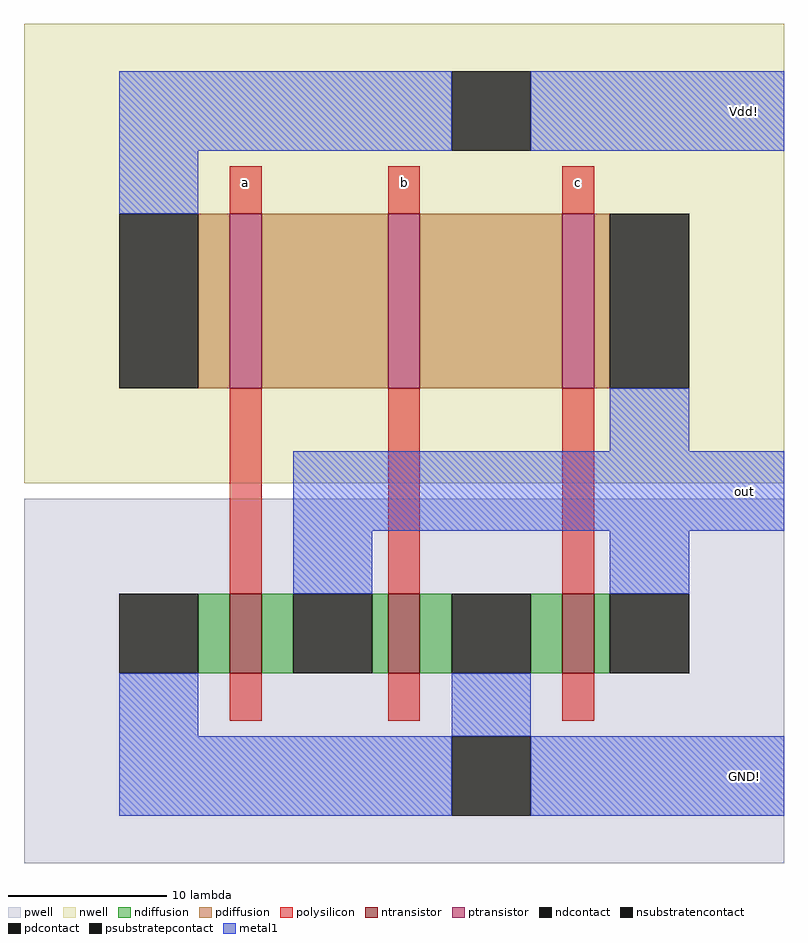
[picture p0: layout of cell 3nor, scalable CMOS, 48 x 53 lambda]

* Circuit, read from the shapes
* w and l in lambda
.subckt 3nor GND! Vdd! a b c out
M1 out a GND! GND! nfet w=5 l=2
M2 GND! b out GND! nfet w=5 l=2
M3 out c GND! GND! nfet w=5 l=2
M4 n1 a Vdd! Vdd! pfet w=11 l=2
M5 n2 b n1 Vdd! pfet w=11 l=2
M6 out c n2 Vdd! pfet w=11 l=2
.ends

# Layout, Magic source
magic
tech scmos
<< nwell >>
rect 72 52 120 81
<< pwell >>
rect 72 28 120 51
<< ntransistor >>
rect 85 40 87 45
rect 95 40 97 45
rect 106 40 108 45
<< ptransistor >>
rect 85 58 87 69
rect 95 58 97 69
rect 106 58 108 69
<< ndiffusion >>
rect 83 40 85 45
rect 87 40 89 45
rect 94 40 95 45
rect 97 40 99 45
rect 104 40 106 45
rect 108 40 109 45
<< pdiffusion >>
rect 83 58 85 69
rect 87 58 95 69
rect 97 58 106 69
rect 108 58 109 69
<< ndcontact >>
rect 78 40 83 45
rect 89 40 94 45
rect 99 40 104 45
rect 109 40 114 45
<< pdcontact >>
rect 78 58 83 69
rect 109 58 114 69
<< psubstratepcontact >>
rect 99 31 104 36
<< nsubstratencontact >>
rect 99 73 104 78
<< polysilicon >>
rect 85 69 87 72
rect 95 69 97 72
rect 106 69 108 72
rect 85 45 87 58
rect 95 45 97 58
rect 106 45 108 58
rect 85 37 87 40
rect 95 37 97 40
rect 106 37 108 40
<< metal1 >>
rect 78 73 99 78
rect 104 73 120 78
rect 78 69 83 73
rect 109 54 114 58
rect 89 49 120 54
rect 89 45 94 49
rect 109 45 114 49
rect 78 36 83 40
rect 99 36 104 40
rect 78 31 99 36
rect 104 31 120 36
<< labels >>
rlabel polysilicon 85 70 87 72 1 a
rlabel polysilicon 95 70 97 72 1 b
rlabel metal1 115 49 120 54 7 out
rlabel metal1 115 31 120 36 7 GND!
rlabel polysilicon 106 70 108 72 1 c
rlabel metal1 115 73 120 78 7 Vdd!
<< end >>
